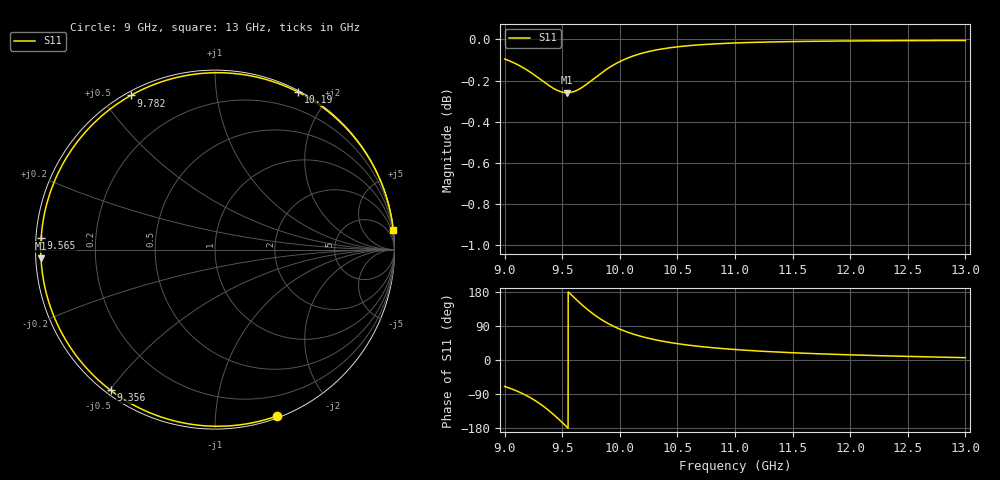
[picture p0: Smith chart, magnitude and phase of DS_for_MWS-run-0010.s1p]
! TOUCHSTONE file generated by CST DESIGN STUDIO
! Date and time: Tue Feb  4 13:40:13 2025
! Project name: C:\Work\MatlabApps\UnitCellOptimizationMatlab\CST\unitcell.cst
! Tree item: Tasks\Sweep1\SPara1\S-Parameters
! Header version: 2024
! Port assignment regex: !\s*Touchstone port\s*([0-9]+)\s*=\s*(CST MWS port|CST DES external port|CST DES block port)\s*(.+)\s* \(\"(.*)\"\)(\s*mode\s*([0-9]+))?.*
! Touchstone port assignment:
! Touchstone port 1 = CST DES external port 1 ("")
# GHz S MA R 50
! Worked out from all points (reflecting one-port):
!   4001 points, 9 GHz to 13 GHz, reference 50 ohm
!   lowest |S11| = -0.3 dB at 9.542 GHz (marker M1), VSWR 67.01, Z = 0.747 - j1.24 ohm
!   phase of S11 starts at -70 deg and turns -284 deg over the sweep
!   S11 on the Smith chart (normalised r, x): 9 GHz: 0.02, -1.44; 9.356 GHz: 0.02, -0.50; 9.565 GHz: 0.01, +0.03; 9.782 GHz: 0.01, +0.59; 10.19 GHz: 0.01, +1.66; 13 GHz: 0, +19
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9  0.9891 -69.7
9.101  0.9863 -81.1
9.211  0.9823 -97.3
9.287  0.979 -111.4
9.356  0.9758 -126.5
9.425  0.9729 -143.9
9.464  0.9717 -154.6
9.5  0.9709 -164.9
9.542  0.9706 -177.2
9.565  0.9707 176.1
9.62  0.9717 160.1
9.68  0.9738 143.4
9.731  0.9761 130.4
9.782  0.9786 118.6
9.829  0.9809 108.9
9.879  0.9831 99.6
9.935  0.9854 90.5
10  0.9877 81.4
10.09  0.9902 71.1
10.188  0.9922 62.1
10.331  0.9943 51.9
10.5  0.9958 43.2
10.721  0.9971 34.9
11  0.998 27.6
11.5  0.9988 19.1
12  0.9991 13.6
12.5  0.9993 9.5
13  0.9994 6.1
